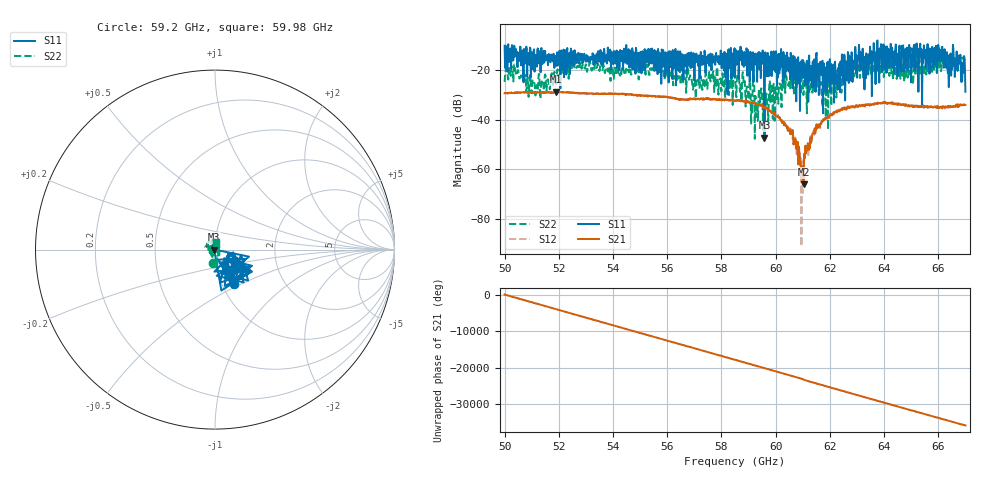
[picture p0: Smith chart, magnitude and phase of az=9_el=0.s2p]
!Created with skrf (http://scikit-rf.org).
# GHz S RI R 50.0
!freq ReS11 ImS11 ReS21 ImS21 ReS12 ImS12 ReS22 ImS22
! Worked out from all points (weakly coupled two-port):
!   1001 points, 50 GHz to 67 GHz, reference 50 ohm
!   highest |S21| = -28.69 dB at 51.89 GHz (marker M1); lowest = -66.1 dB at 61.03 GHz (marker M2)
!   lowest |S11| = -47.3 dB at 59.59 GHz (marker M3), VSWR 1.01, Z = 49.6 + j0.0449 ohm
!   |S11| at or under -10 dB: 50.27 GHz to 54.49 GHz (4.215 GHz wide, 8.05 % of centre); 54.49 GHz to 63.07 GHz (8.583 GHz wide, 14.6 % of centre); 63.07 GHz to 63.61 GHz (539.4 MHz wide, 0.852 % of centre) (the widest 3 of 21)
!   |S22| runs from -47.7 to -14.1 dB; largest |S21 - S12| = 0.0024
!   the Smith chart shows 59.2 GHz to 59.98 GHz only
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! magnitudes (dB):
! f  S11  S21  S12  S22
! 50 GHz  -10.0  -29.3  -29.2  -24.7
! 50.42 GHz  -13.8  -28.9  -28.9  -22.0
! 51.14 GHz  -13.9  -28.8  -28.9  -30.1
! 51.89 GHz  -14.1  -28.7  -28.8  -25.8
! 52.84 GHz  -13.9  -29.3  -29.3  -19.4
! 55.68 GHz  -13.3  -30.5  -30.6  -21.8
! 58.5 GHz  -23.0  -32.3  -32.0  -24.2
! 59.13 GHz  -15.5  -33.4  -33.2  -36.9
! 59.32 GHz  -24.6  -33.8  -33.7  -35.2
! 59.59 GHz  -47.3  -34.5  -34.9  -31.0
! 60.56 GHz  -12.9  -44.3  -44.5  -24.1
! 60.95 GHz  -22.8  -63.5  -91.2  -27.3
! 61.03 GHz  -22.8  -66.1  -61.2  -29.8
! 61.34 GHz  -26.7  -46.9  -47.1  -26.0
! 62 GHz  -15.5  -38.2  -38.4  -25.5
! 62.34 GHz  -17.7  -36.4  -36.1  -24.0
! 63.01 GHz  -23.0  -34.7  -34.7  -19.7
! 64.18 GHz  -18.8  -33.2  -33.2  -18.5
! 66.08 GHz  -15.6  -34.8  -35.0  -15.6
! 66.42 GHz  -15.5  -34.5  -34.7  -16.3
! 66.75 GHz  -17.3  -34.9  -34.4  -18.2
! 67 GHz  -28.7  -34.0  -34.0  -15.5
